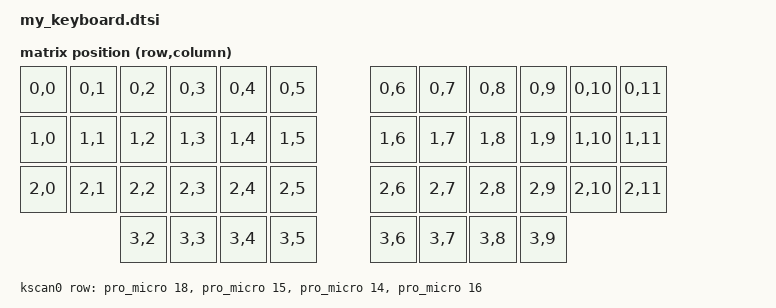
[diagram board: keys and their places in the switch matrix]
#include "my_keyboard_layout.dtsi"
#include <dt-bindings/zmk/matrix_transform.h>

/ {
    matrix_transform0: matrix_transform0 {
        compatible = "zmk,matrix-transform";
        columns = <12>;
        rows = <4>;
        map = <
            RC(0,0) RC(0,1) RC(0,2) RC(0,3) RC(0,4) RC(0,5)         RC(0,6) RC(0,7) RC(0,8) RC(0,9) RC(0,10) RC(0,11)
            RC(1,0) RC(1,1) RC(1,2) RC(1,3) RC(1,4) RC(1,5)         RC(1,6) RC(1,7) RC(1,8) RC(1,9) RC(1,10) RC(1,11)
            RC(2,0) RC(2,1) RC(2,2) RC(2,3) RC(2,4) RC(2,5)         RC(2,6) RC(2,7) RC(2,8) RC(2,9) RC(2,10) RC(2,11)
                               RC(3,2) RC(3,3) RC(3,4) RC(3,5)   RC(3,6) RC(3,7) RC(3,8) RC(3,9)
        >;
    };

    kscan0: kscan0 {
      compatible = "zmk,kscan-gpio-matrix";
      wakeup-source;
      diode-direction = "col2row";
      row-gpios
          = <&pro_micro 18 (GPIO_ACTIVE_HIGH | GPIO_PULL_DOWN)> // row 0
          , <&pro_micro 15 (GPIO_ACTIVE_HIGH | GPIO_PULL_DOWN)> // row 1
          , <&pro_micro 14 (GPIO_ACTIVE_HIGH | GPIO_PULL_DOWN)> // row 2
          , <&pro_micro 16 (GPIO_ACTIVE_HIGH | GPIO_PULL_DOWN)> // row 3
          ;
    };
};

&physical_layout_my_keyboard {
    transform = <&matrix_transform0>;
    compatible= "zmk,physical-layout";
    kscan = <&kscan0>;
};

//
// ======== spi0 ========
//

// pin control for spi0
// - SCK on D3 (SCL)
// - MOSI on D2 (SDA)
&pinctrl {
    /* configuration for spi0 device, default state */
    spi0_default: spi0_default {
        group1 {
            psels = <NRF_PSEL(SPIM_SCK, 0, 29)>,
                    <NRF_PSEL(SPIM_MOSI, 0, 31)>;
                    /* <NRF_PSEL(SPIM_MISO, 0, 25)>; */

        };
    };
    /* configuration for spi0 device, sleep state */
    spi0_sleep: spi0_sleep {
        group1 {
            psels = <NRF_PSEL(SPIM_SCK, 0, 29)>,
                    <NRF_PSEL(SPIM_MOSI, 0, 31)>;
                    /* <NRF_PSEL(SPIM_MISO, 0, 25)>; */
            low-power-enable;
        };
    };
};
&spi0 {
  compatible = "nordic,nrf-spim";
  status = "okay";
  pinctrl-0 = <&spi0_default>;
  pinctrl-1 = <&spi0_sleep>;
  pinctrl-names = "default", "sleep";
};

// devices on spi0

// CS pins for devices on spi0
&spi0 {
    cs-gpios = <&pro_micro 19 GPIO_ACTIVE_HIGH>;
};

// Label spi0 as nice_view_spi,
// The actual device node is defined in the `nice_view` shield.
nice_view_spi: &spi0 { };


